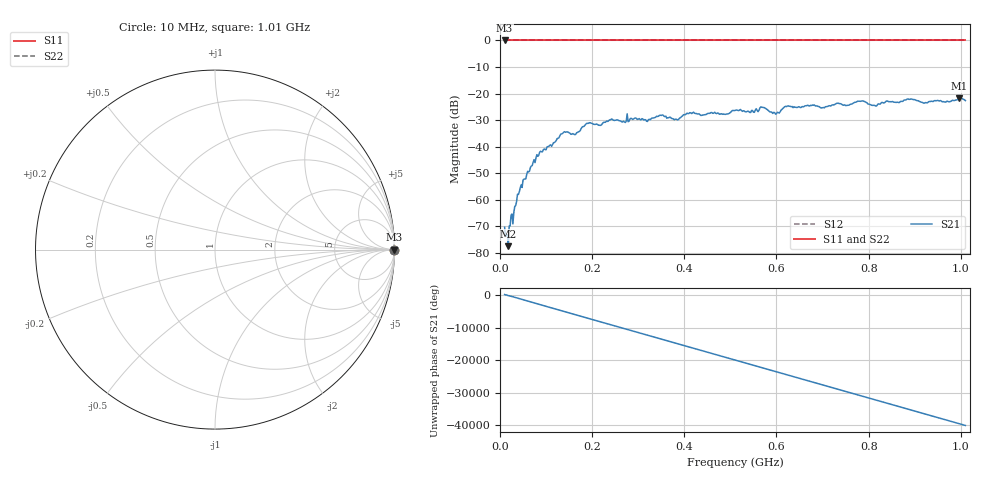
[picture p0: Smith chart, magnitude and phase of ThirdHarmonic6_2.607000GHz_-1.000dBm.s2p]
! 8/17/2025 5:41:07 AM
! C:\ANRITSUVNA\TEMP\TEMP.S2P
! CHANNEL.1
! TR.MEASUREMENT
! RAW.DATA
! RF.CORRECTION.OFF
! AVERAGING.OFF
! IF.BANDWIDTH: 5KHZ
! SWEEPTYPE:  FREQ.SWEEP(Linear)
! Reference Plane Port Info
! PORT:  PORT1  PORT2
! DISTANCE:  0  m  0  m
! TIME:  0  s  0  s
! PHASE.OFFSET:  0  deg.  0  deg.
! LOSS:  0  dB  0  dB
! REF.LOSS:  0  dB  0  dB
! REF.FREQ:  0  Hz  0  Hz
! Power Info
! POWER:  -20  dBm  -20  dBm
! EFF.POWER:  -20  dBm  -20  dBm
! SOURCE.ATTEN:  0  dB  0  dB
! TEST.ATTEN:  0  dB  0  dB
# GHZ S RI R 50.0
! FREQ.GHZ  S11RE  S11IM  S21RE  S21IM  S12RE  S12IM  S22RE  S22IM
!; PortSelection: Port_12
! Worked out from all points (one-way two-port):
!   501 points, 10 MHz to 1.01 GHz, reference 50 ohm
!   highest |S21| = -21.83 dB at 996 MHz (marker M1); lowest = -77.5 dB at 18 MHz (marker M2)
!   lowest |S11| = 0.0 dB at 10 MHz (marker M3)
!   |S11| at or under -10 dB: nowhere
!   |S22| runs from 0.0 to 0.0 dB; largest |S21 - S12| = 1.1
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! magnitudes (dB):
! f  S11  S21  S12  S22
! 10 MHz  0.0  -70.4  0.0  0.0
! 14 MHz  0.0  -73.2  0.0  0.0
! 18 MHz  0.0  -77.5  0.0  0.0
! 42 MHz  0.0  -57.0  0.0  0.0
! 84 MHz  0.0  -43.3  0.0  0.0
! 136 MHz  0.0  -35.0  0.0  0.0
! 164 MHz  0.0  -35.4  0.0  0.0
! 178 MHz  0.0  -32.7  0.0  0.0
! 192 MHz  0.0  -31.2  0.0  0.0
! 344 MHz  0.0  -28.5  0.0  0.0
! 382 MHz  0.0  -29.7  0.0  0.0
! 410 MHz  0.0  -27.5  0.0  0.0
! 510 MHz  0.0  -26.4  0.0  0.0
! 570 MHz  0.0  -25.2  0.0  0.0
! 602 MHz  0.0  -27.1  0.0  0.0
! 622 MHz  0.0  -24.9  0.0  0.0
! 678 MHz  0.0  -24.4  0.0  0.0
! 784 MHz  0.0  -22.9  0.0  0.0
! 814 MHz  0.0  -24.5  0.0  0.0
! 844 MHz  0.0  -23.1  0.0  0.0
! 996 MHz  0.0  -21.8  0.0  0.0
! 1.01 GHz  0.0  -22.7  0.0  0.0
